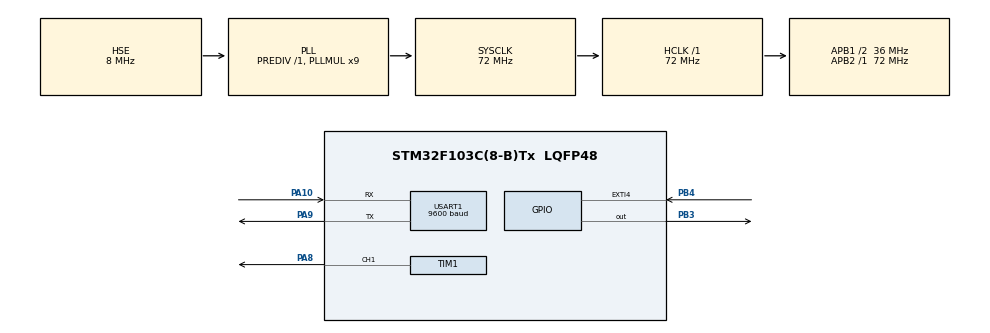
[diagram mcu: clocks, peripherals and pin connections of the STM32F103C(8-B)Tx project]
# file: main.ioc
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Mcu.Family=STM32F1
Mcu.Name=STM32F103C(8-B)Tx
Mcu.Package=LQFP48
NVIC.EXTI4_IRQn=true\:0\:0\:false\:false\:true\:true\:true\:true
NVIC.PriorityGroup=NVIC_PRIORITYGROUP_4
PA10.Mode=Asynchronous
PA10.Signal=USART1_RX
PA13.Mode=Serial_Wire
PA13.Signal=SYS_JTMS-SWDIO
PA14.Mode=Serial_Wire
PA14.Signal=SYS_JTCK-SWCLK
PA8.Signal=S_TIM1_CH1
PA9.Mode=Asynchronous
PA9.Signal=USART1_TX
PB3.Signal=GPIO_Output
PB4.GPIO_ModeDefaultEXTI=GPIO_MODE_IT_RISING_FALLING
PB4.Signal=GPXTI4
PC14-OSC32_IN.Mode=LSE-External-Oscillator
PC14-OSC32_IN.Signal=RCC_OSC32_IN
PC15-OSC32_OUT.Mode=LSE-External-Oscillator
PC15-OSC32_OUT.Signal=RCC_OSC32_OUT
PD0-OSC_IN.Mode=HSE-External-Oscillator
PD0-OSC_IN.Signal=RCC_OSC_IN
PD1-OSC_OUT.Mode=HSE-External-Oscillator
PD1-OSC_OUT.Signal=RCC_OSC_OUT
ProjectManager.HeapSize=0x200
ProjectManager.StackSize=0x400
ProjectManager.TargetToolchain=MDK-ARM V5.32
RCC.AHBFreq_Value=72000000
RCC.APB1CLKDivider=RCC_HCLK_DIV2
RCC.APB1Freq_Value=36000000
RCC.APB1TimFreq_Value=72000000
RCC.APB2Freq_Value=72000000
RCC.APB2TimFreq_Value=72000000
RCC.HCLKFreq_Value=72000000
RCC.PLLMUL=RCC_PLL_MUL9
RCC.PLLSourceVirtual=RCC_PLLSOURCE_HSE
RCC.SYSCLKFreq_VALUE=72000000
RCC.SYSCLKSource=RCC_SYSCLKSOURCE_PLLCLK
RCC.USBFreq_Value=72000000
SH.S_TIM1_CH1.0=TIM1_CH1,PWM Generation1 CH1
TIM1.Channel-PWM\ Generation1\ CH1=TIM_CHANNEL_1
TIM1.Period=2000-1
TIM1.Prescaler=720-1
TIM3.Prescaler=72-1
TIM4.Prescaler=72-1
USART1.BaudRate=9600
USART1.VirtualMode=VM_ASYNC
VP_TIM1_VS_ClockSourceINT.Mode=Internal
VP_TIM3_VS_ClockSourceINT.Mode=Internal
VP_TIM4_VS_ClockSourceINT.Mode=Internal
board=custom

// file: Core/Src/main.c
/* USER CODE BEGIN Header */
/**
  ******************************************************************************
  * @file           : main.c
  * @brief          : Main program body
  ******************************************************************************
  * @attention
  *
  * Copyright (c) 2024 STMicroelectronics.
  * All rights reserved.
  *
  * This software is licensed under terms that can be found in the LICENSE file
  * in the root directory of this software component.
  * If no LICENSE file comes with this software, it is provided AS-IS.
  *
  ******************************************************************************
  */
/* USER CODE END Header */
#include "main.h"

/* USER CODE BEGIN Includes */
#include "driver_sr04.h"
#include "stdio.h"
/* USER CODE END Includes */

TIM_HandleTypeDef htim1;
TIM_HandleTypeDef htim3;
TIM_HandleTypeDef htim4;

UART_HandleTypeDef huart1;

/* USER CODE BEGIN PV */
int count = 0;
int distance = 0;
/* USER CODE END PV */

void SystemClock_Config(void);
static void MX_GPIO_Init(void);
static void MX_TIM1_Init(void);
static void MX_TIM3_Init(void);
static void MX_TIM4_Init(void);
static void MX_USART1_UART_Init(void);

/* USER CODE BEGIN 0 */
int fputc(int ch, FILE *f) {
  uint8_t temp[1] = {ch};
  HAL_UART_Transmit(&huart1, temp, 1, 2);
  return ch;
}
/* USER CODE END 0 */

int main(void)
{

  /* MCU Configuration--------------------------------------------------------*/

  /* Reset of all peripherals, Initializes the Flash interface and the Systick. */
  HAL_Init();

  /* Configure the system clock */
  SystemClock_Config();

  /* Initialize all configured peripherals */
  MX_GPIO_Init();
  MX_TIM1_Init();
  MX_TIM3_Init();
  MX_TIM4_Init();
  MX_USART1_UART_Init();
  /* USER CODE BEGIN 2 */

  // 开启 PWM 通道
  HAL_TIM_PWM_Start(&htim1, TIM_CHANNEL_1);

//  TIM1->CCR1 = 50;  // -90°
//  HAL_Delay(1000);
//  TIM1->CCR1 = 100; // -45°
//  HAL_Delay(1000);
//  TIM1->CCR1 = 150; // 0°
//  HAL_Delay(1000);
//  TIM1->CCR1 = 200; // 45°
//  HAL_Delay(1000);
//  TIM1->CCR1 = 250; // 90°
//  HAL_Delay(1000);

  /* USER CODE END 2 */

  /* Infinite loop */
  while (1)
  {

    /* USER CODE BEGIN 3 */
      int SR04_tick = 0;
      if (HAL_GetTick() - SR04_tick > 50)
      {
          SR04_tick = HAL_GetTick();
          SR04_Trigger();
          if (++count == 40)
          {
              count = 0;
              distance = SR04_GetDistance();
              // 打印距离到串口中
              printf("distance ==> %d\n", distance);
              if (distance < 10)
              {
                  TIM1->CCR1 = 250;     // 90°
              }
              else
              {
                  TIM1->CCR1 = 150;     // 0°
              }
          }
      }
  }
  /* USER CODE END 3 */
}

void SystemClock_Config(void)
{
  RCC_OscInitTypeDef RCC_OscInitStruct = {0};
  RCC_ClkInitTypeDef RCC_ClkInitStruct = {0};

  /** Initializes the RCC Oscillators according to the specified parameters
  * in the RCC_OscInitTypeDef structure.
  */
  RCC_OscInitStruct.OscillatorType = RCC_OSCILLATORTYPE_HSE;
  RCC_OscInitStruct.HSEState = RCC_HSE_ON;
  RCC_OscInitStruct.HSEPredivValue = RCC_HSE_PREDIV_DIV1;
  RCC_OscInitStruct.HSIState = RCC_HSI_ON;
  RCC_OscInitStruct.PLL.PLLState = RCC_PLL_ON;
  RCC_OscInitStruct.PLL.PLLSource = RCC_PLLSOURCE_HSE;
  RCC_OscInitStruct.PLL.PLLMUL = RCC_PLL_MUL9;
  if (HAL_RCC_OscConfig(&RCC_OscInitStruct) != HAL_OK)
  {
    Error_Handler();
  }

  /** Initializes the CPU, AHB and APB buses clocks
  */
  RCC_ClkInitStruct.ClockType = RCC_CLOCKTYPE_HCLK|RCC_CLOCKTYPE_SYSCLK
                              |RCC_CLOCKTYPE_PCLK1|RCC_CLOCKTYPE_PCLK2;
  RCC_ClkInitStruct.SYSCLKSource = RCC_SYSCLKSOURCE_PLLCLK;
  RCC_ClkInitStruct.AHBCLKDivider = RCC_SYSCLK_DIV1;
  RCC_ClkInitStruct.APB1CLKDivider = RCC_HCLK_DIV2;
  RCC_ClkInitStruct.APB2CLKDivider = RCC_HCLK_DIV1;

  if (HAL_RCC_ClockConfig(&RCC_ClkInitStruct, FLASH_LATENCY_2) != HAL_OK)
  {
    Error_Handler();
  }
}

static void MX_TIM1_Init(void)
{

  TIM_ClockConfigTypeDef sClockSourceConfig = {0};
  TIM_MasterConfigTypeDef sMasterConfig = {0};
  TIM_OC_InitTypeDef sConfigOC = {0};
  TIM_BreakDeadTimeConfigTypeDef sBreakDeadTimeConfig = {0};

  htim1.Instance = TIM1;
  htim1.Init.Prescaler = 720-1;
  htim1.Init.CounterMode = TIM_COUNTERMODE_UP;
  htim1.Init.Period = 2000-1;
  htim1.Init.ClockDivision = TIM_CLOCKDIVISION_DIV1;
  htim1.Init.RepetitionCounter = 0;
  htim1.Init.AutoReloadPreload = TIM_AUTORELOAD_PRELOAD_DISABLE;
  if (HAL_TIM_Base_Init(&htim1) != HAL_OK)
  {
    Error_Handler();
  }
  sClockSourceConfig.ClockSource = TIM_CLOCKSOURCE_INTERNAL;
  if (HAL_TIM_ConfigClockSource(&htim1, &sClockSourceConfig) != HAL_OK)
  {
    Error_Handler();
  }
  if (HAL_TIM_PWM_Init(&htim1) != HAL_OK)
  {
    Error_Handler();
  }
  sMasterConfig.MasterOutputTrigger = TIM_TRGO_RESET;
  sMasterConfig.MasterSlaveMode = TIM_MASTERSLAVEMODE_DISABLE;
  if (HAL_TIMEx_MasterConfigSynchronization(&htim1, &sMasterConfig) != HAL_OK)
  {
    Error_Handler();
  }
  sConfigOC.OCMode = TIM_OCMODE_PWM1;
  sConfigOC.Pulse = 0;
  sConfigOC.OCPolarity = TIM_OCPOLARITY_HIGH;
  sConfigOC.OCNPolarity = TIM_OCNPOLARITY_HIGH;
  sConfigOC.OCFastMode = TIM_OCFAST_DISABLE;
  sConfigOC.OCIdleState = TIM_OCIDLESTATE_RESET;
  sConfigOC.OCNIdleState = TIM_OCNIDLESTATE_RESET;
  if (HAL_TIM_PWM_ConfigChannel(&htim1, &sConfigOC, TIM_CHANNEL_1) != HAL_OK)
  {
    Error_Handler();
  }
  sBreakDeadTimeConfig.OffStateRunMode = TIM_OSSR_DISABLE;
  sBreakDeadTimeConfig.OffStateIDLEMode = TIM_OSSI_DISABLE;
  sBreakDeadTimeConfig.LockLevel = TIM_LOCKLEVEL_OFF;
  sBreakDeadTimeConfig.DeadTime = 0;
  sBreakDeadTimeConfig.BreakState = TIM_BREAK_DISABLE;
  sBreakDeadTimeConfig.BreakPolarity = TIM_BREAKPOLARITY_HIGH;
  sBreakDeadTimeConfig.AutomaticOutput = TIM_AUTOMATICOUTPUT_DISABLE;
  if (HAL_TIMEx_ConfigBreakDeadTime(&htim1, &sBreakDeadTimeConfig) != HAL_OK)
  {
    Error_Handler();
  }
  HAL_TIM_MspPostInit(&htim1);

}

static void MX_TIM3_Init(void)
{

  TIM_ClockConfigTypeDef sClockSourceConfig = {0};
  TIM_MasterConfigTypeDef sMasterConfig = {0};

  htim3.Instance = TIM3;
  htim3.Init.Prescaler = 72-1;
  htim3.Init.CounterMode = TIM_COUNTERMODE_UP;
  htim3.Init.Period = 65535;
  htim3.Init.ClockDivision = TIM_CLOCKDIVISION_DIV1;
  htim3.Init.AutoReloadPreload = TIM_AUTORELOAD_PRELOAD_DISABLE;
  if (HAL_TIM_Base_Init(&htim3) != HAL_OK)
  {
    Error_Handler();
  }
  sClockSourceConfig.ClockSource = TIM_CLOCKSOURCE_INTERNAL;
  if (HAL_TIM_ConfigClockSource(&htim3, &sClockSourceConfig) != HAL_OK)
  {
    Error_Handler();
  }
  sMasterConfig.MasterOutputTrigger = TIM_TRGO_RESET;
  sMasterConfig.MasterSlaveMode = TIM_MASTERSLAVEMODE_DISABLE;
  if (HAL_TIMEx_MasterConfigSynchronization(&htim3, &sMasterConfig) != HAL_OK)
  {
    Error_Handler();
  }

}

static void MX_TIM4_Init(void)
{

  TIM_ClockConfigTypeDef sClockSourceConfig = {0};
  TIM_MasterConfigTypeDef sMasterConfig = {0};

  htim4.Instance = TIM4;
  htim4.Init.Prescaler = 72-1;
  htim4.Init.CounterMode = TIM_COUNTERMODE_UP;
  htim4.Init.Period = 65535;
  htim4.Init.ClockDivision = TIM_CLOCKDIVISION_DIV1;
  htim4.Init.AutoReloadPreload = TIM_AUTORELOAD_PRELOAD_DISABLE;
  if (HAL_TIM_Base_Init(&htim4) != HAL_OK)
  {
    Error_Handler();
  }
  sClockSourceConfig.ClockSource = TIM_CLOCKSOURCE_INTERNAL;
  if (HAL_TIM_ConfigClockSource(&htim4, &sClockSourceConfig) != HAL_OK)
  {
    Error_Handler();
  }
  sMasterConfig.MasterOutputTrigger = TIM_TRGO_RESET;
  sMasterConfig.MasterSlaveMode = TIM_MASTERSLAVEMODE_DISABLE;
  if (HAL_TIMEx_MasterConfigSynchronization(&htim4, &sMasterConfig) != HAL_OK)
  {
    Error_Handler();
  }

}

static void MX_USART1_UART_Init(void)
{

  huart1.Instance = USART1;
  huart1.Init.BaudRate = 9600;
  huart1.Init.WordLength = UART_WORDLENGTH_8B;
  huart1.Init.StopBits = UART_STOPBITS_1;
  huart1.Init.Parity = UART_PARITY_NONE;
  huart1.Init.Mode = UART_MODE_TX_RX;
  huart1.Init.HwFlowCtl = UART_HWCONTROL_NONE;
  huart1.Init.OverSampling = UART_OVERSAMPLING_16;
  if (HAL_UART_Init(&huart1) != HAL_OK)
  {
    Error_Handler();
  }

}

static void MX_GPIO_Init(void)
{
  GPIO_InitTypeDef GPIO_InitStruct = {0};

  /* GPIO Ports Clock Enable */
  __HAL_RCC_GPIOC_CLK_ENABLE();
  __HAL_RCC_GPIOD_CLK_ENABLE();
  __HAL_RCC_GPIOA_CLK_ENABLE();
  __HAL_RCC_GPIOB_CLK_ENABLE();

  /*Configure GPIO pin Output Level */
  HAL_GPIO_WritePin(GPIOB, GPIO_PIN_3, GPIO_PIN_RESET);

  /*Configure GPIO pin : PB3 */
  GPIO_InitStruct.Pin = GPIO_PIN_3;
  GPIO_InitStruct.Mode = GPIO_MODE_OUTPUT_PP;
  GPIO_InitStruct.Pull = GPIO_NOPULL;
  GPIO_InitStruct.Speed = GPIO_SPEED_FREQ_LOW;
  HAL_GPIO_Init(GPIOB, &GPIO_InitStruct);

  /*Configure GPIO pin : PB4 */
  GPIO_InitStruct.Pin = GPIO_PIN_4;
  GPIO_InitStruct.Mode = GPIO_MODE_IT_RISING_FALLING;
  GPIO_InitStruct.Pull = GPIO_NOPULL;
  HAL_GPIO_Init(GPIOB, &GPIO_InitStruct);

  /* EXTI interrupt init*/
  HAL_NVIC_SetPriority(EXTI4_IRQn, 0, 0);
  HAL_NVIC_EnableIRQ(EXTI4_IRQn);

}

void Error_Handler(void)
{
  __disable_irq();
  while (1)
  {
  }
}
